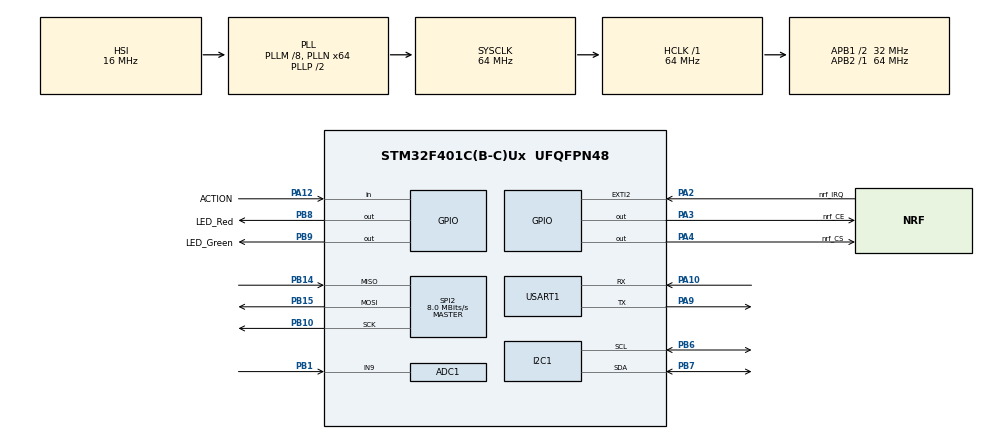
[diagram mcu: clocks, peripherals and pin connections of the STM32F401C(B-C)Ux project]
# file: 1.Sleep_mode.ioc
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ADC1.Channel-0\#ChannelRegularConversion=ADC_CHANNEL_9
ADC1.NbrOfConversionFlag=1
ADC1.Rank-0\#ChannelRegularConversion=1
ADC1.SamplingTime-0\#ChannelRegularConversion=ADC_SAMPLETIME_3CYCLES
ADC1.master=1
Mcu.Family=STM32F4
Mcu.Name=STM32F401C(B-C)Ux
Mcu.Package=UFQFPN48
NVIC.ADC_IRQn=true\:0\:0\:false\:false\:true\:true\:true\:true
NVIC.EXTI2_IRQn=true\:0\:0\:false\:false\:true\:true\:true\:true
NVIC.PriorityGroup=NVIC_PRIORITYGROUP_4
PA0-WKUP.Mode=SYS_WakeUp0
PA0-WKUP.Signal=SYS_WKUP
PA10.Mode=Asynchronous
PA10.Signal=USART1_RX
PA12.GPIO_Label=ACTION
PA12.Signal=GPIO_Input
PA13.Mode=Serial_Wire
PA13.Signal=SYS_JTMS-SWDIO
PA14.Mode=Serial_Wire
PA14.Signal=SYS_JTCK-SWCLK
PA2.GPIO_Label=nrf_IRQ
PA2.GPIO_ModeDefaultEXTI=GPIO_MODE_IT_FALLING
PA2.Signal=GPXTI2
PA3.GPIO_Label=nrf_CE
PA3.Signal=GPIO_Output
PA4.GPIO_Label=nrf_CS
PA4.Signal=GPIO_Output
PA9.Mode=Asynchronous
PA9.Signal=USART1_TX
PB1.Signal=ADCx_IN9
PB10.Mode=Full_Duplex_Master
PB10.Signal=SPI2_SCK
PB14.Mode=Full_Duplex_Master
PB14.Signal=SPI2_MISO
PB15.Mode=Full_Duplex_Master
PB15.Signal=SPI2_MOSI
PB6.Mode=I2C
PB6.Signal=I2C1_SCL
PB7.Mode=I2C
PB7.Signal=I2C1_SDA
PB8.GPIO_Label=LED_Red
PB8.Signal=GPIO_Output
PB9.GPIO_Label=LED_Green
PB9.Signal=GPIO_Output
ProjectManager.HeapSize=0x200
ProjectManager.StackSize=0x400
ProjectManager.TargetToolchain=STM32CubeIDE
RCC.48MHZClocksFreq_Value=32000000
RCC.AHBFreq_Value=64000000
RCC.APB1CLKDivider=RCC_HCLK_DIV2
RCC.APB1Freq_Value=32000000
RCC.APB1TimFreq_Value=64000000
RCC.APB2Freq_Value=64000000
RCC.APB2TimFreq_Value=64000000
RCC.CortexFreq_Value=64000000
RCC.HCLKFreq_Value=64000000
RCC.HSE_VALUE=25000000
RCC.HSI_VALUE=16000000
RCC.LSE_VALUE=32768
RCC.PLLM=8
RCC.PLLN=64
RCC.SYSCLKFreq_VALUE=64000000
RCC.SYSCLKSource=RCC_SYSCLKSOURCE_PLLCLK
RCC.VCOOutputFreq_Value=128000000
SH.ADCx_IN9.0=ADC1_IN9,IN9
SPI2.BaudRatePrescaler=SPI_BAUDRATEPRESCALER_4
SPI2.CalculateBaudRate=8.0 MBits/s
SPI2.Direction=SPI_DIRECTION_2LINES
SPI2.Mode=SPI_MODE_MASTER
SPI2.VirtualType=VM_MASTER
USART1.VirtualMode=VM_ASYNC
VP_RTC_VS_RTC_Activate.Mode=RTC_Enabled
VP_RTC_VS_RTC_WakeUp_intern.Mode=WakeUp
board=custom

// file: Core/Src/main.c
/* USER CODE BEGIN Header */
/**
  ******************************************************************************
  * @file           : main.c
  * @brief          : Main program body
  ******************************************************************************
  * @attention
  *
  * Copyright (c) 2024 STMicroelectronics.
  * All rights reserved.
  *
  * This software is licensed under terms that can be found in the LICENSE file
  * in the root directory of this software component.
  * If no LICENSE file comes with this software, it is provided AS-IS.
  *
  ******************************************************************************
  */
/* USER CODE END Header */
#include "main.h"

/* USER CODE BEGIN Includes */

#include "stm32f4xx_hal.h"

#include "stm32f4xx_hal_gpio.h"
/* USER CODE END Includes */

/* USER CODE BEGIN PD */
#define ON 1
#define OFF 0

#define SLEEP_MODE ON

#define UART_LOG ON
#define LED ON

#define SLEEP_TIME 5

#define RED_LED_ON HAL_GPIO_WritePin(GPIOB, LED_Red_Pin, GPIO_PIN_SET)
#define RED_LED_OFF HAL_GPIO_WritePin(GPIOB, LED_Red_Pin, GPIO_PIN_RESET)
#define RED_LED_TOGLE HAL_GPIO_TogglePin(GPIOB, LED_Red_Pin)

#define GREEN_LED_ON HAL_GPIO_WritePin(GPIOB, LED_Green_Pin, GPIO_PIN_SET)
#define GREEN_LED_OFF HAL_GPIO_WritePin(GPIOB, LED_Green_Pin, GPIO_PIN_RESET)
#define GREEN_LED_TOGLE HAL_GPIO_TogglePin(GPIOB, LED_Green_Pin)

// Set wakeUp time
const float  Wake_up_Time_Base = 16.0f/32000.0f;     //0.0005 s
const int WakeUpCounter_1_sec = 1/Wake_up_Time_Base;
const int WakeUpCounter_5_sec = 5/Wake_up_Time_Base;
const int WakeUpCounter_10_sec = 10/Wake_up_Time_Base;

////////////////////////////////////////////////////////////////////////////

// Define wake up period

/* USER CODE END PD */

ADC_HandleTypeDef hadc1;

I2C_HandleTypeDef hi2c1;

RTC_HandleTypeDef hrtc;

SPI_HandleTypeDef hspi2;

UART_HandleTypeDef huart1;

void SystemClock_Config(void);
static void MX_GPIO_Init(void);
static void MX_RTC_Init(void);
static void MX_I2C1_Init(void);
static void MX_USART1_UART_Init(void);
static void MX_SPI2_Init(void);
static void MX_ADC1_Init(void);

/* USER CODE BEGIN 0 */

// --------------------------------------------------------------------------------
void led_test_blink(uint16_t times, uint16_t delay)
{
	for(int i = 0; i <= times; i++)
	{
		RED_LED_ON;
		GREEN_LED_ON;
		HAL_Delay(delay);
		RED_LED_OFF;
		GREEN_LED_OFF;
		HAL_Delay(delay);
	}
}
// --------------------------------------------------------------------------------------

#define COUNTER_PACKET 1
#define COUNTER_RETRANSMITED_PACKET 2
#define COUNTER_LOST_PACKET 3
#define COUNTER_SECOND 4

void WriteBackupRegister(uint32_t data, uint8_t type)
{
	if(type == COUNTER_PACKET)
	{
		HAL_RTCEx_BKUPWrite(&hrtc, RTC_BKP_DR1, data);
	}
	if(type == COUNTER_SECOND)
	{
		HAL_RTCEx_BKUPWrite(&hrtc, RTC_BKP_DR4, data);
	}
}
// --------------------------------------------------------------------------------
uint32_t ReadBackupRegister(uint8_t type)
{
	if(type == COUNTER_PACKET)
	{
		return HAL_RTCEx_BKUPRead(&hrtc, RTC_BKP_DR1);
	}
	if(type == COUNTER_SECOND)
	{
		return HAL_RTCEx_BKUPRead(&hrtc, RTC_BKP_DR4);
	}

}
// --------------------------------------------------------------------------------
void counter(char* buff)
{

}

//Зробити так, щоб викликав�?�? окремо обробник по таймеру, і окремий від кнопки !!!!!

void HAL_RTC_AlarmAEventCallback(RTC_HandleTypeDef *hrtc)
{
    __HAL_PWR_CLEAR_FLAG(PWR_FLAG_WU);

    char buf_uart_tx[50] = {0,};
    sprintf(buf_uart_tx, "Wake Up FROM RTC!!!...\n\r");
    HAL_UART_Transmit(&huart1, buf_uart_tx, sizeof(buf_uart_tx), 1000);

    led_test_blink(100, 20);
}

/* USER CODE END 0 */

int main(void)
{

  /* MCU Configuration--------------------------------------------------------*/

  /* Reset of all peripherals, Initializes the Flash interface and the Systick. */
  HAL_Init();

  /* Configure the system clock */
  SystemClock_Config();

  /* Initialize all configured peripherals */
  MX_GPIO_Init();
  MX_RTC_Init();
  MX_I2C1_Init();
  MX_USART1_UART_Init();
  MX_SPI2_Init();
  MX_ADC1_Init();
  /* USER CODE BEGIN 2 */

//  char buf_uart_tx[50] = {0,};
//  sprintf(buf_uart_tx, "ON ...\n\r");
//  HAL_UART_Transmit(&huart1, buf_uart_tx, sizeof(buf_uart_tx), 1000);

//  led_test_blink(10, 100);

  ////////////////////////////////////////////////////////////////////////////////////////////////////////////

  if (__HAL_PWR_GET_FLAG(PWR_FLAG_SB) != RESET)			// Work from stenby mode
  {
	  __HAL_PWR_CLEAR_FLAG(PWR_FLAG_SB);  // clear the flag

 	  /** Disable the WWAKEUP PIN **/
 	  HAL_PWR_DisableWakeUpPin(PWR_WAKEUP_PIN1);  // disable PA0

 	  /** Deactivate the RTC wakeup  **/
 	  HAL_RTCEx_DeactivateWakeUpTimer(&hrtc);

 	 // Якщо кнопка нати�?нута то перейти в не�?пл�?чий режим на 10 �?екунд (блимати ледом)
 	  if(HAL_GPIO_ReadPin(GPIOA, ACTION_Pin) == 1)
 	  {
 		  char buf_uart_tx[50] = {0,};
 		  sprintf(buf_uart_tx, "BUTTON ACTION PRESSED !\n\r");
 		  HAL_UART_Transmit(&huart1, buf_uart_tx, sizeof(buf_uart_tx), 1000);

 		  led_test_blink(10, 800);
 	  }

 	 uint32_t seconds = ReadBackupRegister(COUNTER_SECOND);

 	 if(seconds >= 3)
 	 {
 		 char buf_uart_tx[50] = {0,};
 		 memset(buf_uart_tx, 0, sizeof(buf_uart_tx));
 		 sprintf(buf_uart_tx, "Wake Up ... COUNTER: %d\n\r", seconds);
 		 HAL_UART_Transmit(&huart1, buf_uart_tx, sizeof(buf_uart_tx), 1000);

 		 led_test_blink(10, 10);

 		 uint32_t ffff = 0;
 		 WriteBackupRegister(ffff, COUNTER_SECOND);
 	 }
 	 else
 	 {
 		WriteBackupRegister(seconds+1, COUNTER_SECOND);		// Update counter of seconds
 	 }

   }

  /** Now enter the standby mode **/
    /* Clear the WU FLAG */
   __HAL_PWR_CLEAR_FLAG(PWR_FLAG_WU);

    /* clear the RTC Wake UP (WU) flag */
   __HAL_RTC_WAKEUPTIMER_CLEAR_FLAG(&hrtc, RTC_FLAG_WUTF);

    /* Enable the WAKEUP PIN */
   HAL_PWR_EnableWakeUpPin(PWR_WAKEUP_PIN1);

   if (HAL_RTCEx_SetWakeUpTimer_IT(&hrtc, WakeUpCounter_5_sec, RTC_WAKEUPCLOCK_RTCCLK_DIV16) != HAL_OK)
   {
     Error_Handler();
   }

//   memset(buf_uart_tx, 0, sizeof(buf_uart_tx));
//   sprintf(buf_uart_tx, "EnterSTANDBYMode ...\n\r");
//   HAL_UART_Transmit(&huart1, buf_uart_tx, sizeof(buf_uart_tx), 1000);

   /* Finally enter the standby mode */
   HAL_PWR_EnterSTANDBYMode();

  /* USER CODE END 2 */

  /* Infinite loop */
  while (1)
  {

  }
}

void SystemClock_Config(void)
{
  RCC_OscInitTypeDef RCC_OscInitStruct = {0};
  RCC_ClkInitTypeDef RCC_ClkInitStruct = {0};

  /** Configure the main internal regulator output voltage
  */
  __HAL_RCC_PWR_CLK_ENABLE();
  __HAL_PWR_VOLTAGESCALING_CONFIG(PWR_REGULATOR_VOLTAGE_SCALE2);

  /** Initializes the RCC Oscillators according to the specified parameters
  * in the RCC_OscInitTypeDef structure.
  */
  RCC_OscInitStruct.OscillatorType = RCC_OSCILLATORTYPE_HSI|RCC_OSCILLATORTYPE_LSI;
  RCC_OscInitStruct.HSIState = RCC_HSI_ON;
  RCC_OscInitStruct.HSICalibrationValue = RCC_HSICALIBRATION_DEFAULT;
  RCC_OscInitStruct.LSIState = RCC_LSI_ON;
  RCC_OscInitStruct.PLL.PLLState = RCC_PLL_ON;
  RCC_OscInitStruct.PLL.PLLSource = RCC_PLLSOURCE_HSI;
  RCC_OscInitStruct.PLL.PLLM = 8;
  RCC_OscInitStruct.PLL.PLLN = 64;
  RCC_OscInitStruct.PLL.PLLP = RCC_PLLP_DIV2;
  RCC_OscInitStruct.PLL.PLLQ = 4;
  if (HAL_RCC_OscConfig(&RCC_OscInitStruct) != HAL_OK)
  {
    Error_Handler();
  }

  /** Initializes the CPU, AHB and APB buses clocks
  */
  RCC_ClkInitStruct.ClockType = RCC_CLOCKTYPE_HCLK|RCC_CLOCKTYPE_SYSCLK
                              |RCC_CLOCKTYPE_PCLK1|RCC_CLOCKTYPE_PCLK2;
  RCC_ClkInitStruct.SYSCLKSource = RCC_SYSCLKSOURCE_PLLCLK;
  RCC_ClkInitStruct.AHBCLKDivider = RCC_SYSCLK_DIV1;
  RCC_ClkInitStruct.APB1CLKDivider = RCC_HCLK_DIV2;
  RCC_ClkInitStruct.APB2CLKDivider = RCC_HCLK_DIV1;

  if (HAL_RCC_ClockConfig(&RCC_ClkInitStruct, FLASH_LATENCY_2) != HAL_OK)
  {
    Error_Handler();
  }
}

static void MX_ADC1_Init(void)
{

  ADC_ChannelConfTypeDef sConfig = {0};

  /** Configure the global features of the ADC (Clock, Resolution, Data Alignment and number of conversion)
  */
  hadc1.Instance = ADC1;
  hadc1.Init.ClockPrescaler = ADC_CLOCK_SYNC_PCLK_DIV2;
  hadc1.Init.Resolution = ADC_RESOLUTION_12B;
  hadc1.Init.ScanConvMode = DISABLE;
  hadc1.Init.ContinuousConvMode = DISABLE;
  hadc1.Init.DiscontinuousConvMode = DISABLE;
  hadc1.Init.ExternalTrigConvEdge = ADC_EXTERNALTRIGCONVEDGE_NONE;
  hadc1.Init.ExternalTrigConv = ADC_SOFTWARE_START;
  hadc1.Init.DataAlign = ADC_DATAALIGN_RIGHT;
  hadc1.Init.NbrOfConversion = 1;
  hadc1.Init.DMAContinuousRequests = DISABLE;
  hadc1.Init.EOCSelection = ADC_EOC_SINGLE_CONV;
  if (HAL_ADC_Init(&hadc1) != HAL_OK)
  {
    Error_Handler();
  }

  /** Configure for the selected ADC regular channel its corresponding rank in the sequencer and its sample time.
  */
  sConfig.Channel = ADC_CHANNEL_9;
  sConfig.Rank = 1;
  sConfig.SamplingTime = ADC_SAMPLETIME_3CYCLES;
  if (HAL_ADC_ConfigChannel(&hadc1, &sConfig) != HAL_OK)
  {
    Error_Handler();
  }

}

static void MX_I2C1_Init(void)
{

  hi2c1.Instance = I2C1;
  hi2c1.Init.ClockSpeed = 100000;
  hi2c1.Init.DutyCycle = I2C_DUTYCYCLE_2;
  hi2c1.Init.OwnAddress1 = 0;
  hi2c1.Init.AddressingMode = I2C_ADDRESSINGMODE_7BIT;
  hi2c1.Init.DualAddressMode = I2C_DUALADDRESS_DISABLE;
  hi2c1.Init.OwnAddress2 = 0;
  hi2c1.Init.GeneralCallMode = I2C_GENERALCALL_DISABLE;
  hi2c1.Init.NoStretchMode = I2C_NOSTRETCH_DISABLE;
  if (HAL_I2C_Init(&hi2c1) != HAL_OK)
  {
    Error_Handler();
  }

}

static void MX_RTC_Init(void)
{

  RTC_TimeTypeDef sTime = {0};
  RTC_DateTypeDef sDate = {0};

  /** Initialize RTC Only
  */
  hrtc.Instance = RTC;
  hrtc.Init.HourFormat = RTC_HOURFORMAT_24;
  hrtc.Init.AsynchPrediv = 127;
  hrtc.Init.SynchPrediv = 255;
  hrtc.Init.OutPut = RTC_OUTPUT_DISABLE;
  hrtc.Init.OutPutPolarity = RTC_OUTPUT_POLARITY_HIGH;
  hrtc.Init.OutPutType = RTC_OUTPUT_TYPE_OPENDRAIN;
  if (HAL_RTC_Init(&hrtc) != HAL_OK)
  {
    Error_Handler();
  }

  /** Initialize RTC and set the Time and Date
  */
  sTime.Hours = 0x0;
  sTime.Minutes = 0x0;
  sTime.Seconds = 0x0;
  sTime.DayLightSaving = RTC_DAYLIGHTSAVING_NONE;
  sTime.StoreOperation = RTC_STOREOPERATION_RESET;
  if (HAL_RTC_SetTime(&hrtc, &sTime, RTC_FORMAT_BCD) != HAL_OK)
  {
    Error_Handler();
  }
  sDate.WeekDay = RTC_WEEKDAY_MONDAY;
  sDate.Month = RTC_MONTH_JANUARY;
  sDate.Date = 0x1;
  sDate.Year = 0x0;

  if (HAL_RTC_SetDate(&hrtc, &sDate, RTC_FORMAT_BCD) != HAL_OK)
  {
    Error_Handler();
  }

  /** Enable the WakeUp
  */
  if (HAL_RTCEx_SetWakeUpTimer(&hrtc, 0, RTC_WAKEUPCLOCK_RTCCLK_DIV16) != HAL_OK)
  {
    Error_Handler();
  }

}

static void MX_SPI2_Init(void)
{

  /* SPI2 parameter configuration*/
  hspi2.Instance = SPI2;
  hspi2.Init.Mode = SPI_MODE_MASTER;
  hspi2.Init.Direction = SPI_DIRECTION_2LINES;
  hspi2.Init.DataSize = SPI_DATASIZE_8BIT;
  hspi2.Init.CLKPolarity = SPI_POLARITY_LOW;
  hspi2.Init.CLKPhase = SPI_PHASE_1EDGE;
  hspi2.Init.NSS = SPI_NSS_SOFT;
  hspi2.Init.BaudRatePrescaler = SPI_BAUDRATEPRESCALER_4;
  hspi2.Init.FirstBit = SPI_FIRSTBIT_MSB;
  hspi2.Init.TIMode = SPI_TIMODE_DISABLE;
  hspi2.Init.CRCCalculation = SPI_CRCCALCULATION_DISABLE;
  hspi2.Init.CRCPolynomial = 10;
  if (HAL_SPI_Init(&hspi2) != HAL_OK)
  {
    Error_Handler();
  }

}

static void MX_USART1_UART_Init(void)
{

  huart1.Instance = USART1;
  huart1.Init.BaudRate = 115200;
  huart1.Init.WordLength = UART_WORDLENGTH_8B;
  huart1.Init.StopBits = UART_STOPBITS_1;
  huart1.Init.Parity = UART_PARITY_NONE;
  huart1.Init.Mode = UART_MODE_TX_RX;
  huart1.Init.HwFlowCtl = UART_HWCONTROL_NONE;
  huart1.Init.OverSampling = UART_OVERSAMPLING_16;
  if (HAL_UART_Init(&huart1) != HAL_OK)
  {
    Error_Handler();
  }

}

static void MX_GPIO_Init(void)
{
  GPIO_InitTypeDef GPIO_InitStruct = {0};

  /* GPIO Ports Clock Enable */
  __HAL_RCC_GPIOA_CLK_ENABLE();
  __HAL_RCC_GPIOB_CLK_ENABLE();

  /*Configure GPIO pin Output Level */
  HAL_GPIO_WritePin(GPIOA, nrf_CE_Pin|nrf_CS_Pin, GPIO_PIN_RESET);

  /*Configure GPIO pin Output Level */
  HAL_GPIO_WritePin(GPIOB, LED_Red_Pin|LED_Green_Pin, GPIO_PIN_RESET);

  /*Configure GPIO pin : nrf_IRQ_Pin */
  GPIO_InitStruct.Pin = nrf_IRQ_Pin;
  GPIO_InitStruct.Mode = GPIO_MODE_IT_FALLING;
  GPIO_InitStruct.Pull = GPIO_NOPULL;
  HAL_GPIO_Init(nrf_IRQ_GPIO_Port, &GPIO_InitStruct);

  /*Configure GPIO pins : nrf_CE_Pin nrf_CS_Pin */
  GPIO_InitStruct.Pin = nrf_CE_Pin|nrf_CS_Pin;
  GPIO_InitStruct.Mode = GPIO_MODE_OUTPUT_PP;
  GPIO_InitStruct.Pull = GPIO_NOPULL;
  GPIO_InitStruct.Speed = GPIO_SPEED_FREQ_LOW;
  HAL_GPIO_Init(GPIOA, &GPIO_InitStruct);

  /*Configure GPIO pin : ACTION_Pin */
  GPIO_InitStruct.Pin = ACTION_Pin;
  GPIO_InitStruct.Mode = GPIO_MODE_INPUT;
  GPIO_InitStruct.Pull = GPIO_NOPULL;
  HAL_GPIO_Init(ACTION_GPIO_Port, &GPIO_InitStruct);

  /*Configure GPIO pins : LED_Red_Pin LED_Green_Pin */
  GPIO_InitStruct.Pin = LED_Red_Pin|LED_Green_Pin;
  GPIO_InitStruct.Mode = GPIO_MODE_OUTPUT_PP;
  GPIO_InitStruct.Pull = GPIO_NOPULL;
  GPIO_InitStruct.Speed = GPIO_SPEED_FREQ_LOW;
  HAL_GPIO_Init(GPIOB, &GPIO_InitStruct);

  /* EXTI interrupt init*/
  HAL_NVIC_SetPriority(EXTI2_IRQn, 0, 0);
  HAL_NVIC_EnableIRQ(EXTI2_IRQn);

}

void Error_Handler(void)
{
  __disable_irq();
  while (1)
  {
  }
}
